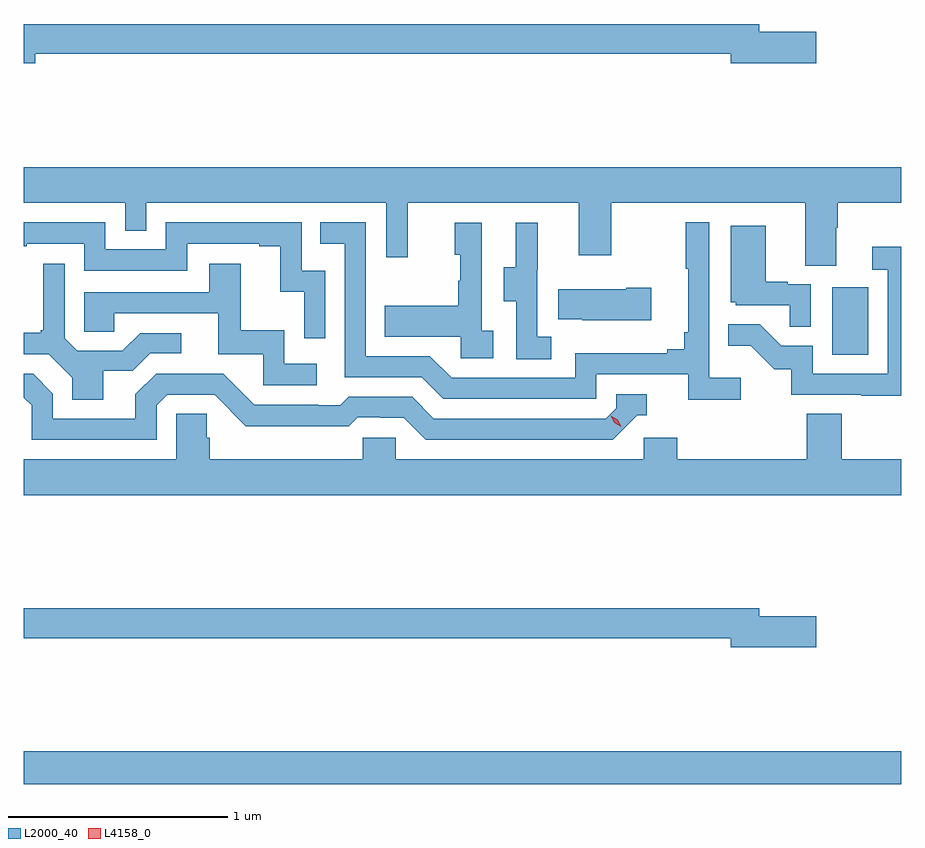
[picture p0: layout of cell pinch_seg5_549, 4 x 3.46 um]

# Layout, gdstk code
import gdstk
lib = gdstk.Library(unit=1e-6, precision=1e-09)
def R(c, l, rs):  # rectangles x0, y0, x1, y1
    for r in rs: c.add(gdstk.rectangle(r[:2], r[2:], *l))
def P(c, l, *ps):  # polygons
    for p in ps: c.add(gdstk.Polygon(p, *l))
L2000_40 = (2000, 40)
L4158_0 = (4158, 0)

pinch_seg5_549 = lib.new_cell('pinch_seg5_549')
R(pinch_seg5_549, L2000_40, [(984.186,832.799,988.186,832.948), (987.872,834.756,988.036,835.063)])
P(pinch_seg5_549, L2000_40, [(984.238,836.128),(987.41,836.128),(987.41,836.086),(987.799,836.086),(987.799,836.228),(987.538,836.228),(987.538,836.264),(984.186,836.264),(984.186,836.086),(984.238,836.086)],
  [(987.889,835.336),(987.897,835.336),(987.897,835.448),(988.186,835.448),(988.186,835.612),(984.186,835.612),(984.186,835.448),(984.648,835.448),(984.648,835.321),(984.744,835.321),(984.744,835.448),(985.839,835.448),(985.839,835.2),(985.937,835.2),(985.937,835.448),(986.717,835.448),(986.717,835.209),(986.865,835.209),(986.865,835.448),(987.749,835.448),(987.749,835.162),(987.889,835.162)],
  [(987.454,834.652),(987.312,834.652),(987.312,835.36),(987.204,835.36),(987.204,835.147),(987.215,835.147),(987.215,834.859),(987.196,834.859),(987.196,834.782),(987.119,834.782),(987.119,834.763),(986.7,834.763),(986.7,834.651),(986.136,834.651),(986.037,834.75),(985.746,834.75),(985.746,835.359),(985.537,835.359),(985.537,835.263),(985.65,835.263),(985.65,834.654),(986,834.654),(986.099,834.555),(986.796,834.555),(986.796,834.666),(987.215,834.666),(987.215,834.55),(987.454,834.55)],
  [(985.56,835.14),(985.452,835.14),(985.452,835.359),(984.834,835.359),(984.834,835.236),(984.558,835.236),(984.558,835.359),(984.186,835.359),(984.186,835.251),(984.199,835.251),(984.199,835.263),(984.462,835.263),(984.462,835.14),(984.93,835.14),(984.93,835.263),(985.259,835.263),(985.259,835.251),(985.355,835.251),(985.355,835.043),(985.464,835.043),(985.464,834.831),(985.56,834.831)],
  [(986.59,834.839),(986.526,834.839),(986.526,835.143),(986.528,835.143),(986.528,835.357),(986.429,835.357),(986.429,835.155),(986.375,835.155),(986.375,835),(986.43,835),(986.43,834.736),(986.59,834.736)],
  [(986.326,834.866),(986.274,834.866),(986.274,835.357),(986.15,835.357),(986.15,835.212),(986.176,835.212),(986.176,835.094),(986.166,835.094),(986.166,834.979),(985.831,834.979),(985.831,834.839),(986.178,834.839),(986.178,834.741),(986.326,834.741)],
  [(987.774,835.077),(987.668,835.077),(987.668,835.09),(987.568,835.09),(987.568,835.345),(987.41,835.345),(987.41,834.996),(987.432,834.996),(987.432,834.981),(987.679,834.981),(987.679,834.883),(987.774,834.883)],
  [(988.186,835.249),(988.053,835.249),(988.053,835.143),(988.125,835.143),(988.125,834.669),(987.783,834.669),(987.783,834.798),(987.639,834.798),(987.541,834.896),(987.397,834.896),(987.397,834.797),(987.501,834.797),(987.608,834.69),(987.685,834.69),(987.685,834.573),(988.003,834.573),(988.003,834.568),(988.186,834.568)],
  [(984.547,834.682),(984.682,834.682),(984.762,834.762),(984.904,834.762),(984.904,834.855),(984.716,834.855),(984.635,834.774),(984.429,834.774),(984.372,834.831),(984.372,835.171),(984.275,835.171),(984.275,834.868),(984.264,834.868),(984.264,834.856),(984.186,834.856),(984.186,834.759),(984.3,834.759),(984.407,834.652),(984.407,834.55),(984.547,834.55)],
  [(985.522,834.714),(985.374,834.714),(985.374,834.868),(985.175,834.868),(985.175,835.171),(985.031,835.171),(985.031,835.041),(984.462,835.041),(984.462,834.861),(984.599,834.861),(984.599,834.945),(985.073,834.945),(985.073,834.759),(985.278,834.759),(985.278,834.618),(985.522,834.618)],
  [(987.046,835.062),(986.933,835.062),(986.933,835.054),(986.623,835.054),(986.623,834.917),(986.731,834.917),(986.731,834.914),(987.046,834.914)],
  [(984.792,834.525),(984.84,834.573),(985.056,834.573),(985.198,834.431),(985.434,834.431),(985.434,834.429),(985.667,834.429),(985.709,834.471),(985.812,834.471),(985.812,834.468),(985.919,834.468),(986.018,834.369),(986.871,834.369),(986.982,834.48),(987.025,834.48),(987.025,834.576),(986.886,834.576),(986.886,834.513),(986.838,834.465),(986.055,834.465),(985.956,834.564),(985.667,834.564),(985.628,834.525),(985.529,834.525),(985.529,834.528),(985.236,834.528),(985.095,834.669),(984.789,834.669),(984.695,834.575),(984.695,834.465),(984.318,834.465),(984.318,834.579),(984.228,834.669),(984.186,834.669),(984.186,834.561),(984.222,834.525),(984.222,834.369),(984.792,834.369)],
  [(988.186,834.28),(987.915,834.28),(987.915,834.488),(987.755,834.488),(987.755,834.28),(987.164,834.28),(987.164,834.378),(987.012,834.378),(987.012,834.28),(985.881,834.28),(985.881,834.378),(985.731,834.378),(985.731,834.28),(985.034,834.28),(985.034,834.378),(985.019,834.378),(985.019,834.488),(984.882,834.488),(984.882,834.28),(984.186,834.28),(984.186,834.116),(988.186,834.116)],
  [(987.799,833.564),(987.538,833.564),(987.538,833.6),(984.186,833.6),(984.186,833.464),(987.41,833.464),(987.41,833.422),(987.799,833.422)])
P(pinch_seg5_549, L4158_0, [(986.909,834.427),(986.878,834.446),(986.862,834.479),(986.862,834.479),(986.862,834.479),(986.893,834.46),(986.909,834.427),(986.909,834.427)])

lib.write_gds('pinch_seg5_549.gds')
